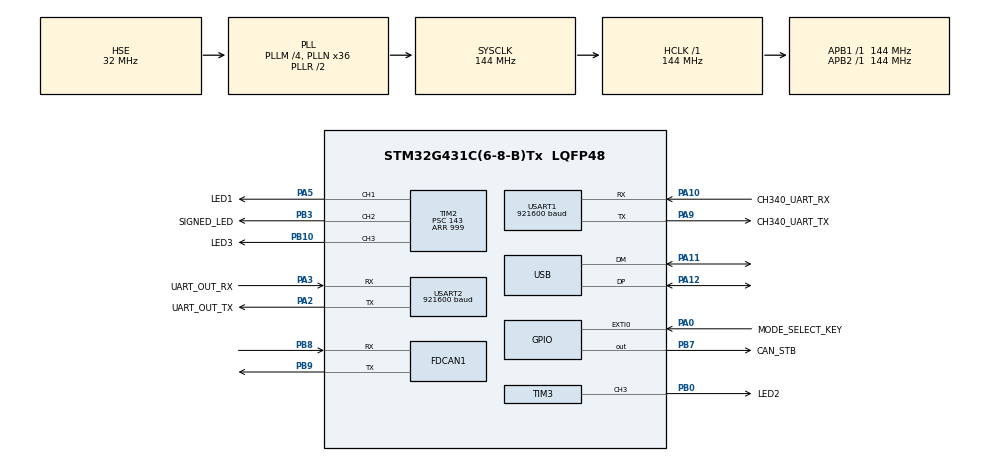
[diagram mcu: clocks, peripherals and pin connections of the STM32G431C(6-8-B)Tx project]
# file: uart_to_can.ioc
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Dma.Request0=USART1_RX
Dma.Request1=USART2_RX
Dma.Request2=USART1_TX
Dma.Request3=USART2_TX
Dma.USART1_RX.0.Direction=DMA_PERIPH_TO_MEMORY
Dma.USART1_RX.0.EventEnable=DISABLE
Dma.USART1_RX.0.Instance=DMA1_Channel1
Dma.USART1_RX.0.MemDataAlignment=DMA_MDATAALIGN_BYTE
Dma.USART1_RX.0.MemInc=DMA_MINC_ENABLE
Dma.USART1_RX.0.Mode=DMA_CIRCULAR
Dma.USART1_RX.0.PeriphDataAlignment=DMA_PDATAALIGN_BYTE
Dma.USART1_RX.0.PeriphInc=DMA_PINC_DISABLE
Dma.USART1_RX.0.Polarity=HAL_DMAMUX_REQ_GEN_RISING
Dma.USART1_RX.0.Priority=DMA_PRIORITY_HIGH
Dma.USART1_RX.0.RequestNumber=1
Dma.USART1_RX.0.SignalID=NONE
Dma.USART1_RX.0.SyncEnable=DISABLE
Dma.USART1_RX.0.SyncPolarity=HAL_DMAMUX_SYNC_NO_EVENT
Dma.USART1_RX.0.SyncRequestNumber=1
Dma.USART1_RX.0.SyncSignalID=NONE
Dma.USART1_TX.2.Direction=DMA_MEMORY_TO_PERIPH
Dma.USART1_TX.2.EventEnable=DISABLE
Dma.USART1_TX.2.Instance=DMA1_Channel3
Dma.USART1_TX.2.MemDataAlignment=DMA_MDATAALIGN_BYTE
Dma.USART1_TX.2.MemInc=DMA_MINC_ENABLE
Dma.USART1_TX.2.Mode=DMA_NORMAL
Dma.USART1_TX.2.PeriphDataAlignment=DMA_PDATAALIGN_BYTE
Dma.USART1_TX.2.PeriphInc=DMA_PINC_DISABLE
Dma.USART1_TX.2.Polarity=HAL_DMAMUX_REQ_GEN_RISING
Dma.USART1_TX.2.Priority=DMA_PRIORITY_HIGH
Dma.USART1_TX.2.RequestNumber=1
Dma.USART1_TX.2.SignalID=NONE
Dma.USART1_TX.2.SyncEnable=DISABLE
Dma.USART1_TX.2.SyncPolarity=HAL_DMAMUX_SYNC_NO_EVENT
Dma.USART1_TX.2.SyncRequestNumber=1
Dma.USART1_TX.2.SyncSignalID=NONE
Dma.USART2_RX.1.Direction=DMA_PERIPH_TO_MEMORY
Dma.USART2_RX.1.EventEnable=DISABLE
Dma.USART2_RX.1.Instance=DMA1_Channel2
Dma.USART2_RX.1.MemDataAlignment=DMA_MDATAALIGN_BYTE
Dma.USART2_RX.1.MemInc=DMA_MINC_ENABLE
Dma.USART2_RX.1.Mode=DMA_CIRCULAR
Dma.USART2_RX.1.PeriphDataAlignment=DMA_PDATAALIGN_BYTE
Dma.USART2_RX.1.PeriphInc=DMA_PINC_DISABLE
Dma.USART2_RX.1.Polarity=HAL_DMAMUX_REQ_GEN_RISING
Dma.USART2_RX.1.Priority=DMA_PRIORITY_HIGH
Dma.USART2_RX.1.RequestNumber=1
Dma.USART2_RX.1.SignalID=NONE
Dma.USART2_RX.1.SyncEnable=DISABLE
Dma.USART2_RX.1.SyncPolarity=HAL_DMAMUX_SYNC_NO_EVENT
Dma.USART2_RX.1.SyncRequestNumber=1
Dma.USART2_RX.1.SyncSignalID=NONE
Dma.USART2_TX.3.Direction=DMA_MEMORY_TO_PERIPH
Dma.USART2_TX.3.EventEnable=DISABLE
Dma.USART2_TX.3.Instance=DMA1_Channel4
Dma.USART2_TX.3.MemDataAlignment=DMA_MDATAALIGN_BYTE
Dma.USART2_TX.3.MemInc=DMA_MINC_ENABLE
Dma.USART2_TX.3.Mode=DMA_NORMAL
Dma.USART2_TX.3.PeriphDataAlignment=DMA_PDATAALIGN_BYTE
Dma.USART2_TX.3.PeriphInc=DMA_PINC_DISABLE
Dma.USART2_TX.3.Polarity=HAL_DMAMUX_REQ_GEN_RISING
Dma.USART2_TX.3.Priority=DMA_PRIORITY_HIGH
Dma.USART2_TX.3.RequestNumber=1
Dma.USART2_TX.3.SignalID=NONE
Dma.USART2_TX.3.SyncEnable=DISABLE
Dma.USART2_TX.3.SyncPolarity=HAL_DMAMUX_SYNC_NO_EVENT
Dma.USART2_TX.3.SyncRequestNumber=1
Dma.USART2_TX.3.SyncSignalID=NONE
FDCAN1.AutoRetransmission=ENABLE
FDCAN1.CalculateBaudRateNominal=1000000
FDCAN1.CalculateTimeBitNominal=1000
FDCAN1.CalculateTimeQuantumNominal=62.5
FDCAN1.ClockDivider=FDCAN_CLOCK_DIV1
FDCAN1.ExtFiltersNbr=1
FDCAN1.FrameFormat=FDCAN_FRAME_CLASSIC
FDCAN1.Mode=FDCAN_MODE_NORMAL
FDCAN1.NominalPrescaler=3
FDCAN1.NominalSyncJumpWidth=2
FDCAN1.NominalTimeSeg1=13
FDCAN1.NominalTimeSeg2=2
FDCAN1.StdFiltersNbr=1
FDCAN1.TxFifoQueueMode=FDCAN_TX_FIFO_OPERATION
FREERTOS.FreeRTOS_API=1
FREERTOS.Tasks01=defaultTask,40,768,StartDefaultTask,Default,NULL,Dynamic,NULL,NULL
FREERTOS.configCHECK_FOR_STACK_OVERFLOW=2
FREERTOS.configTOTAL_HEAP_SIZE=8192
FREERTOS.configUSE_MALLOC_FAILED_HOOK=1
FREERTOS.configUSE_NEWLIB_REENTRANT=0
Mcu.Family=STM32G4
Mcu.Name=STM32G431C(6-8-B)Tx
Mcu.Package=LQFP48
NVIC.DMA1_Channel1_IRQn=true\:5\:0\:false\:false\:true\:true\:true\:true\:true
NVIC.DMA1_Channel2_IRQn=true\:5\:0\:false\:false\:true\:true\:true\:true\:true
NVIC.DMA1_Channel3_IRQn=true\:5\:0\:false\:false\:true\:true\:true\:true\:true
NVIC.DMA1_Channel4_IRQn=true\:5\:0\:false\:false\:true\:true\:true\:true\:true
NVIC.EXTI0_IRQn=true\:5\:0\:false\:false\:true\:true\:true\:true\:true
NVIC.FDCAN1_IT0_IRQn=true\:5\:0\:false\:false\:true\:true\:true\:true\:true
NVIC.PriorityGroup=NVIC_PRIORITYGROUP_4
NVIC.TIM6_DAC_IRQn=true\:15\:0\:true\:false\:true\:false\:false\:true\:true
NVIC.TimeBase=TIM6_DAC_IRQn
NVIC.TimeBaseIP=TIM6
NVIC.USART1_IRQn=true\:5\:0\:false\:false\:true\:true\:true\:true\:true
NVIC.USART2_IRQn=true\:5\:0\:false\:false\:true\:true\:true\:true\:true
NVIC.USB_LP_IRQn=true\:5\:0\:false\:false\:true\:true\:true\:true\:true
PA0.GPIO_Label=MODE_SELECT_KEY
PA0.GPIO_ModeDefaultEXTI=GPIO_MODE_IT_FALLING
PA0.GPIO_PuPd=GPIO_PULLUP
PA0.Signal=GPXTI0
PA0.Stacked=true
PA10.GPIO_Label=CH340_UART_RX
PA10.GPIO_Speed=GPIO_SPEED_FREQ_HIGH
PA10.Mode=Asynchronous
PA10.Signal=USART1_RX
PA10.Stacked=true
PA11.Mode=Device
PA11.Signal=USB_DM
PA11.Stacked=true
PA12.Mode=Device
PA12.Signal=USB_DP
PA12.Stacked=true
PA13.Mode=Serial_Wire
PA13.Signal=SYS_JTMS-SWDIO
PA14.Mode=Serial_Wire
PA14.Signal=SYS_JTCK-SWCLK
PA14.Stacked=true
PA2.GPIO_Label=UART_OUT_TX
PA2.GPIO_Speed=GPIO_SPEED_FREQ_HIGH
PA2.Mode=Asynchronous
PA2.Signal=USART2_TX
PA2.Stacked=true
PA3.GPIO_Label=UART_OUT_RX
PA3.GPIO_Speed=GPIO_SPEED_FREQ_HIGH
PA3.Mode=Asynchronous
PA3.Signal=USART2_RX
PA3.Stacked=true
PA5.GPIO_Label=LED1
PA5.Signal=S_TIM2_CH1
PA9.GPIO_Label=CH340_UART_TX
PA9.GPIO_Speed=GPIO_SPEED_FREQ_HIGH
PA9.Mode=Asynchronous
PA9.Signal=USART1_TX
PA9.Stacked=true
PB0.GPIO_Label=LED2
PB0.Signal=S_TIM3_CH3
PB0.Stacked=true
PB10.GPIO_Label=LED3
PB10.Signal=S_TIM2_CH3
PB10.Stacked=true
PB3.GPIO_Label=SIGNED_LED
PB3.Signal=S_TIM2_CH2
PB3.Stacked=true
PB7.GPIO_Label=CAN_STB
PB7.GPIO_ModeDefaultOutput=GPIO_MODE_OUTPUT_PP
PB7.PinState=GPIO_PIN_SET
PB7.Signal=GPIO_Output
PB7.Stacked=true
PB8-BOOT0.GPIO_Speed=GPIO_SPEED_FREQ_HIGH
PB8-BOOT0.Mode=FDCAN_Activate
PB8-BOOT0.Signal=FDCAN1_RX
PB8-BOOT0.Stacked=true
PB9.GPIO_Speed=GPIO_SPEED_FREQ_HIGH
PB9.Mode=FDCAN_Activate
PB9.Signal=FDCAN1_TX
PB9.Stacked=true
PF0-OSC_IN.Mode=HSE-External-Oscillator
PF0-OSC_IN.Signal=RCC_OSC_IN
PF1-OSC_OUT.Mode=HSE-External-Oscillator
PF1-OSC_OUT.Signal=RCC_OSC_OUT
ProjectManager.HeapSize=0x200
ProjectManager.StackSize=0x800
ProjectManager.TargetToolchain=CMake
RCC.ADC12Freq_Value=144000000
RCC.AHBFreq_Value=144000000
RCC.APB1Freq_Value=144000000
RCC.APB1TimFreq_Value=144000000
RCC.APB2Freq_Value=144000000
RCC.APB2TimFreq_Value=144000000
RCC.CK48CLockSelection=RCC_USBCLKSOURCE_PLL
RCC.CortexFreq_Value=144000000
RCC.EXTERNAL_CLOCK_VALUE=12288000
RCC.FDCANCLockSelection=RCC_FDCANCLKSOURCE_PLL
RCC.HCLKFreq_Value=144000000
RCC.HSE_VALUE=32000000
RCC.HSI48_VALUE=48000000
RCC.HSI_VALUE=16000000
RCC.LSE_VALUE=32768
RCC.PLLM=RCC_PLLM_DIV4
RCC.PLLN=36
RCC.PLLQ=RCC_PLLQ_DIV6
RCC.PLLSourceVirtual=RCC_PLLSOURCE_HSE
RCC.SYSCLKFreq_VALUE=144000000
RCC.SYSCLKSource=RCC_SYSCLKSOURCE_PLLCLK
RCC.USBFreq_Value=48000000
RCC.VCOOutputFreq_Value=288000000
SH.S_TIM2_CH1.0=TIM2_CH1,PWM Generation1 CH1
SH.S_TIM2_CH2.0=TIM2_CH2,PWM Generation2 CH2
SH.S_TIM2_CH3.0=TIM2_CH3,PWM Generation3 CH3
SH.S_TIM3_CH3.0=TIM3_CH3,PWM Generation3 CH3
TIM2.Channel-PWM\ Generation1\ CH1=TIM_CHANNEL_1
TIM2.Channel-PWM\ Generation2\ CH2=TIM_CHANNEL_2
TIM2.Channel-PWM\ Generation3\ CH3=TIM_CHANNEL_3
TIM2.OCPolarity_1=TIM_OCPOLARITY_LOW
TIM2.OCPolarity_2=TIM_OCPOLARITY_LOW
TIM2.OCPolarity_3=TIM_OCPOLARITY_LOW
TIM2.Period=999
TIM2.Prescaler=143
TIM3.Channel-PWM\ Generation3\ CH3=TIM_CHANNEL_3
TIM3.OCPolarity_3=TIM_OCPOLARITY_LOW
TIM3.Period=999
TIM3.Prescaler=143
USART1.BaudRate=921600
USART1.Parity=PARITY_NONE
USART1.StopBits=STOPBITS_1
USART1.VirtualMode-Asynchronous=VM_ASYNC
USART1.WordLength=WORDLENGTH_8B
USART2.BaudRate=921600
USART2.Parity=PARITY_NONE
USART2.StopBits=STOPBITS_1
USART2.VirtualMode-Asynchronous=VM_ASYNC
USART2.WordLength=WORDLENGTH_8B
USB_DEVICE.APP_RX_DATA_SIZE=256
USB_DEVICE.APP_TX_DATA_SIZE=256
USB_DEVICE.CLASS_NAME_FS=CDC
USB_DEVICE.PRODUCT_STRING_CDC_FS=SHARK UART CAN
USB_DEVICE.USBD_LPM_ENABLED=0
USB_DEVICE.VirtualMode=Cdc
USB_DEVICE.VirtualModeFS=Cdc_FS
VP_FREERTOS_VS_CMSIS_V2.Mode=CMSIS_V2
VP_SYS_VS_DBSignals.Mode=DisableDeadBatterySignals
VP_SYS_VS_tim6.Mode=TIM6
VP_USB_DEVICE_VS_USB_DEVICE_CDC_FS.Mode=CDC_FS
board=custom

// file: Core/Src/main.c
/* USER CODE BEGIN Header */
/**
  ******************************************************************************
  * @file           : main.c
  * @brief          : Main program body
  ******************************************************************************
  * @attention
  *
  * Copyright (c) 2026 STMicroelectronics.
  * All rights reserved.
  *
  * This software is licensed under terms that can be found in the LICENSE file
  * in the root directory of this software component.
  * If no LICENSE file comes with this software, it is provided AS-IS.
  *
  ******************************************************************************
  */
/* USER CODE END Header */
#include "main.h"
#include "cmsis_os.h"
#include "dma.h"
#include "fdcan.h"
#include "tim.h"
#include "usart.h"
#include "usb_device.h"
#include "gpio.h"

/* USER CODE BEGIN Includes */
#include "board_config.h"

/* USER CODE END Includes */

void SystemClock_Config(void);
void MX_FREERTOS_Init(void);

int main(void)
{

  /* MCU Configuration--------------------------------------------------------*/

  /* Reset of all peripherals, Initializes the Flash interface and the Systick. */
  HAL_Init();

  /* Configure the system clock */
  SystemClock_Config();

  /* Initialize all configured peripherals */
  MX_GPIO_Init();
  MX_DMA_Init();
  MX_FDCAN1_Init();
  MX_TIM2_Init();
  MX_TIM3_Init();
  MX_USART1_UART_Init();
  MX_USART2_UART_Init();

  /* Init scheduler */
  osKernelInitialize();  /* Call init function for freertos objects (in cmsis_os2.c) */
  MX_FREERTOS_Init();

  /* Start scheduler */
  osKernelStart();

  /* We should never get here as control is now taken by the scheduler */

  /* Infinite loop */
  while (1)
  {

  }
}

void SystemClock_Config(void)
{
  RCC_OscInitTypeDef RCC_OscInitStruct = {0};
  RCC_ClkInitTypeDef RCC_ClkInitStruct = {0};

  /** Configure the main internal regulator output voltage
  */
  HAL_PWREx_ControlVoltageScaling(PWR_REGULATOR_VOLTAGE_SCALE1);

  /** Initializes the RCC Oscillators according to the specified parameters
  * in the RCC_OscInitTypeDef structure.
  */
  RCC_OscInitStruct.OscillatorType = RCC_OSCILLATORTYPE_HSE;
  RCC_OscInitStruct.HSEState = RCC_HSE_ON;
  RCC_OscInitStruct.PLL.PLLState = RCC_PLL_ON;
  RCC_OscInitStruct.PLL.PLLSource = RCC_PLLSOURCE_HSE;
  RCC_OscInitStruct.PLL.PLLM = RCC_PLLM_DIV4;
  RCC_OscInitStruct.PLL.PLLN = 36;
  RCC_OscInitStruct.PLL.PLLP = RCC_PLLP_DIV2;
  RCC_OscInitStruct.PLL.PLLQ = RCC_PLLQ_DIV6;
  RCC_OscInitStruct.PLL.PLLR = RCC_PLLR_DIV2;
  if (HAL_RCC_OscConfig(&RCC_OscInitStruct) != HAL_OK)
  {
    Error_Handler();
  }

  /** Initializes the CPU, AHB and APB buses clocks
  */
  RCC_ClkInitStruct.ClockType = RCC_CLOCKTYPE_HCLK|RCC_CLOCKTYPE_SYSCLK
                              |RCC_CLOCKTYPE_PCLK1|RCC_CLOCKTYPE_PCLK2;
  RCC_ClkInitStruct.SYSCLKSource = RCC_SYSCLKSOURCE_PLLCLK;
  RCC_ClkInitStruct.AHBCLKDivider = RCC_SYSCLK_DIV1;
  RCC_ClkInitStruct.APB1CLKDivider = RCC_HCLK_DIV1;
  RCC_ClkInitStruct.APB2CLKDivider = RCC_HCLK_DIV1;

  if (HAL_RCC_ClockConfig(&RCC_ClkInitStruct, FLASH_LATENCY_4) != HAL_OK)
  {
    Error_Handler();
  }
}

void HAL_TIM_PeriodElapsedCallback(TIM_HandleTypeDef *htim)
{
  if (htim->Instance == TIM6)
  {
    HAL_IncTick();
  }
}

void Error_Handler(void)
{
  /* USER CODE BEGIN Error_Handler_Debug */
  __disable_irq();
  __HAL_RCC_GPIOA_CLK_ENABLE();
  __HAL_RCC_GPIOB_CLK_ENABLE();
  GPIO_InitTypeDef gpio = {0};
  gpio.Mode = GPIO_MODE_OUTPUT_PP;
  gpio.Pin = LED1_Pin;
  HAL_GPIO_Init(GPIOA, &gpio);
  gpio.Pin = LED2_Pin | LED3_Pin | SIGNED_LED_Pin | CAN_STB_Pin;
  HAL_GPIO_Init(GPIOB, &gpio);
  HAL_GPIO_WritePin(CAN_STB_GPIO_Port, CAN_STB_Pin, GPIO_PIN_SET);
  HAL_GPIO_WritePin(GPIOA, LED1_Pin, BOARD_LED_ON);
  HAL_GPIO_WritePin(GPIOB, LED2_Pin | LED3_Pin | SIGNED_LED_Pin, BOARD_LED_ON);
  while (1) { __NOP(); }
  /* USER CODE END Error_Handler_Debug */
}

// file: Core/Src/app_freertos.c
/* USER CODE BEGIN Header */
/**
  ******************************************************************************
  * File Name          : app_freertos.c
  * Description        : Code for freertos applications
  ******************************************************************************
  * @attention
  *
  * Copyright (c) 2026 STMicroelectronics.
  * All rights reserved.
  *
  * This software is licensed under terms that can be found in the LICENSE file
  * in the root directory of this software component.
  * If no LICENSE file comes with this software, it is provided AS-IS.
  *
  ******************************************************************************
  */
/* USER CODE END Header */

#include "FreeRTOS.h"
#include "task.h"
#include "main.h"
#include "cmsis_os.h"

#include "usb_device.h"

/* USER CODE BEGIN Includes */
#include "bridge_app.h"
/* USER CODE END Includes */

/* Definitions for defaultTask */
osThreadId_t defaultTaskHandle;
const osThreadAttr_t defaultTask_attributes = {
  .name = "defaultTask",
  .priority = (osPriority_t) osPriorityHigh,
  .stack_size = 768 * 4
};

void StartDefaultTask(void *argument);

void MX_FREERTOS_Init(void); /* (MISRA C 2004 rule 8.1) */

/* Hook prototypes */
void vApplicationStackOverflowHook(xTaskHandle xTask, signed char *pcTaskName);
void vApplicationMallocFailedHook(void);

/* USER CODE BEGIN 4 */
void vApplicationStackOverflowHook(xTaskHandle xTask, signed char *pcTaskName)
{
  (void)xTask;
  (void)pcTaskName;
  Error_Handler();
}
/* USER CODE END 4 */

/* USER CODE BEGIN 5 */
void vApplicationMallocFailedHook(void)
{
  Error_Handler();
}
/* USER CODE END 5 */

void MX_FREERTOS_Init(void) {

  /* Create the thread(s) */
  /* creation of defaultTask */
  defaultTaskHandle = osThreadNew(StartDefaultTask, NULL, &defaultTask_attributes);

  /* USER CODE BEGIN RTOS_THREADS */
  if (defaultTaskHandle == NULL) Error_Handler();
  /* USER CODE END RTOS_THREADS */

}

void StartDefaultTask(void *argument)
{
  /* init code for USB_Device */
  MX_USB_Device_Init();
  /* USER CODE BEGIN StartDefaultTask */
  (void)argument;
  Bridge_Run();
  /* USER CODE END StartDefaultTask */
}
